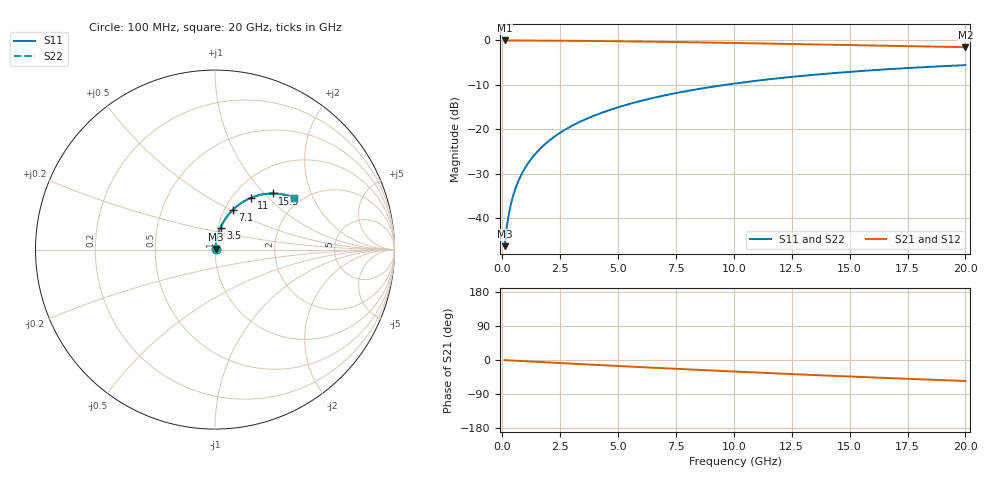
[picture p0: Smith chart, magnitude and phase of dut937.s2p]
! Touchstone file exported from HFSS 2026.1.0
!  File:  C:/ffzhzh/LocalFiles/Ansys_Project_Files/temp_train_BSMRDL_937_1783172016_51560.aedt
!  Generated:  09:35:00 PM Jul  4, 2026
!  Design:  BSMRDL
!  Project:  temp_train_BSMRDL_937_1783172016_51560
! Variables:
!  h_bsmrdl = 5.87um
!  h_ox = 20um
!  h_rdl = 5um
!  h_sub = 80um
!  h_tmrdl = 5um
!  h_tsv = 80um
!  h_via = 3um
!  l_bsmrdl = 829.29um
!  l_sub = 1229.29um
!  l_tmrdl = 200um
!  m_sub = 200um
!  pitch = 55.05um
!  r_tsv = 6um
!  s_tmrdl = 10um
!  w_bsmrdl = 17.69um
!  w_sub = 500um
!  w_tmrdl = 12um
!  x_tsv_center1 = 206um
!  x_tsv_center2 = 1052.98um
!  x_tsv_center3 = 1264.98um
!  x_tsv_center4 = 2111.96um
!  x_tsv_center5 = 2323.96um
!  x_tsv_center6 = 3170.94um
# GHz S MA R 50.000000
! Terminal data exported
! Port[1] = BSM_RDL1_1_T1
! Port[2] = BSM_RDL1_1_T2
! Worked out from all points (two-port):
!   200 points, 100 MHz to 20 GHz, reference 50 ohm
!   highest |S21| = -0.03 dB at 100 MHz (marker M1); lowest = -1.5 dB at 20 GHz (marker M2)
!   |S21| within 3 dB of the highest: start of sweep to end of sweep
!   lowest |S11| = -46.2 dB at 100 MHz (marker M3), VSWR 1.01, Z = 50.3 + j0.391 ohm
!   |S11| at or under -10 dB: start of sweep to 9.625 GHz
!   |S22| runs from -46.2 to -5.6 dB; largest |S21 - S12| = 3.4e-15
!   S11 on the Smith chart (normalised r, x): 100 MHz: 1.01, +0.01; 3.5 GHz: 1.03, +0.26; 7.1 GHz: 1.10, +0.52; 11 GHz: 1.22, +0.80; 15.3 GHz: 1.43, +1.12; 20 GHz: 1.82, +1.46
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0.1  0.004881 52.8  0.9971 -0.3  0.9971 -0.3  0.004881 52.8
! Gamma 0 0 0 0
! Port Impedance 50 0 50 0
0.2  0.00831 67.7  0.9969 -0.7  0.9969 -0.7  0.00831 67.7
0.3  0.01191 73.4  0.9967 -1.0  0.9967 -1.0  0.01191 73.4
0.4  0.01553 76.4  0.9966 -1.3  0.9966 -1.3  0.01553 76.4
0.5  0.01917 78.2  0.9964 -1.6  0.9964 -1.6  0.01917 78.2
0.7  0.02648 80.0  0.9961 -2.3  0.9961 -2.3  0.02648 80.0
1  0.03747 81.0  0.9956 -3.3  0.9956 -3.3  0.03747 81.0
1.4  0.0521 81.0  0.9946 -4.6  0.9946 -4.6  0.0521 81.0
2  0.07384 79.9  0.9927 -6.5  0.9927 -6.5  0.07384 79.9
2.7  0.0988 78.2  0.9897 -8.7  0.9897 -8.7  0.0988 78.2
3.5  0.1267 76.0  0.9857 -11.2  0.9857 -11.2  0.1267 76.0
4.2  0.1505 74.0  0.9816 -13.4  0.9816 -13.4  0.1505 74.0
5  0.1771 71.7  0.9765 -15.8  0.9765 -15.8  0.1771 71.7
6.8  0.2343 66.6  0.9631 -21.2  0.9631 -21.2  0.2343 66.6
7.1  0.2435 65.7  0.9606 -22.1  0.9606 -22.1  0.2435 65.7
8.5  0.2848 61.8  0.9486 -26.2  0.9486 -26.2  0.2848 61.8
10.1  0.329 57.5  0.9337 -30.7  0.9337 -30.7  0.329 57.5
11  0.3523 55.1  0.925 -33.2  0.925 -33.2  0.3523 55.1
13.4  0.4092 48.9  0.901 -39.5  0.901 -39.5  0.4092 48.9
15.3  0.4487 44.2  0.882 -44.3  0.882 -44.3  0.4487 44.2
16.7  0.4748 40.8  0.8682 -47.8  0.8682 -47.8  0.4748 40.8
20  0.5268 33.3  0.838 -55.4  0.838 -55.4  0.5268 33.3
